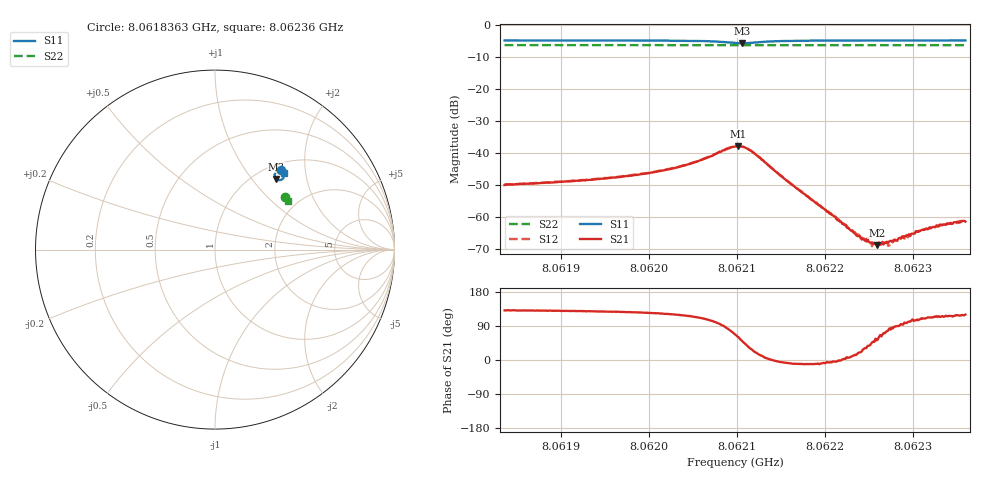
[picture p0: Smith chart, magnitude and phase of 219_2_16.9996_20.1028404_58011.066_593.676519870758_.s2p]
#  HZ  S  RI  R  50.00
! Rohde & Schwarz Vector Network Analyzer
! Rohde-Schwarz,ZNB20-2Port,1311601062101988,3.16
! Created: UTC 3/20/2024, 11:01:53 PM
! freq[Hz]  re:S11  im:S11  re:S21  im:S21  re:S12  im:S12  re:S22  im:S22
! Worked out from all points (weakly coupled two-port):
!   401 points, 8.0618363 GHz to 8.06236 GHz, reference 50 ohm
!   highest |S21| = -37.87 dB at 8.0621021 GHz (marker M1); lowest = -68.8 dB at 8.0622592 GHz (marker M2)
!   lowest |S11| = -5.7 dB at 8.0621061 GHz (marker M3), VSWR 3.17, Z = 61.9 + j66.8 ohm
!   |S11| at or under -10 dB: nowhere
!   |S22| runs from -6.3 to -6.2 dB; largest |S21 - S12| = 0.001
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8.06183635e9  0.3661 0.4445  -0.00207 0.00238  -0.00199 0.00252  0.3872 0.2953
8.06192407e9  0.3725 0.4385  -0.00234 0.00289  -0.0022 0.00306  0.3902 0.2911
8.06196596e9  0.3762 0.4347  -0.00254 0.00333  -0.00238 0.00352  0.3916 0.2889
8.06201179e9  0.3807 0.4284  -0.00284 0.00436  -0.00259 0.00459  0.3932 0.2865
8.06204976e9  0.3845 0.4179  -0.00293 0.00633  -0.00256 0.00656  0.3944 0.2842
8.06207987e9  0.3802 0.3982  -0.00109 0.0102  -0.00046 0.0104  0.3948 0.282
8.0620982e9  0.3561 0.3867  0.00485 0.0117  0.0056 0.0116  0.3943 0.2809
8.06210213e9  0.3481 0.3885  0.00637 0.0111  0.00728 0.0106  0.394 0.281
8.06210605e9  0.341 0.3931  0.00793 0.00975  0.00862 0.00937  0.394 0.2812
8.06211129e9  0.3342 0.402  0.00921 0.00753  0.00968 0.00701  0.394 0.2815
8.06212046e9  0.3326 0.4188  0.00916 0.00352  0.00938 0.00319  0.3944 0.2818
8.0621558e9  0.3556 0.4394  0.00378 -0.000483  0.00378 -0.000721  0.3969 0.2806
8.06218592e9  0.3664 0.4387  0.00182 -0.000342  0.00179 -0.000476  0.3983 0.2792
8.06224352e9  0.3761 0.4344  0.000405 0.000213  0.000433 0.000165  0.4005 0.2761
8.06225138e9  0.3771 0.4338  0.000313 0.000248  0.000324 0.000205  0.4005 0.2756
8.06225924e9  0.378 0.4333  0.000226 0.000286  0.000242 0.000277  0.4009 0.2755
8.06226185e9  0.3782 0.4331  0.000185 0.000335  0.000219 0.000338  0.4011 0.2751
8.06227364e9  0.3795 0.4324  4.81e-05 0.000414  7.04e-05 0.000355  0.4015 0.2746
8.06230244e9  0.382 0.4305  -0.00014 0.000546  -0.000105 0.000537  0.4024 0.273
8.06232339e9  0.3838 0.4293  -0.000264 0.00065  -0.00022 0.000622  0.403 0.272
8.06232994e9  0.3842 0.4288  -0.000304 0.000644  -0.000261 0.000694  0.4033 0.2716
8.06236005e9  0.3864 0.4269  -0.000422 0.000735  -0.000373 0.000786  0.4045 0.2702
